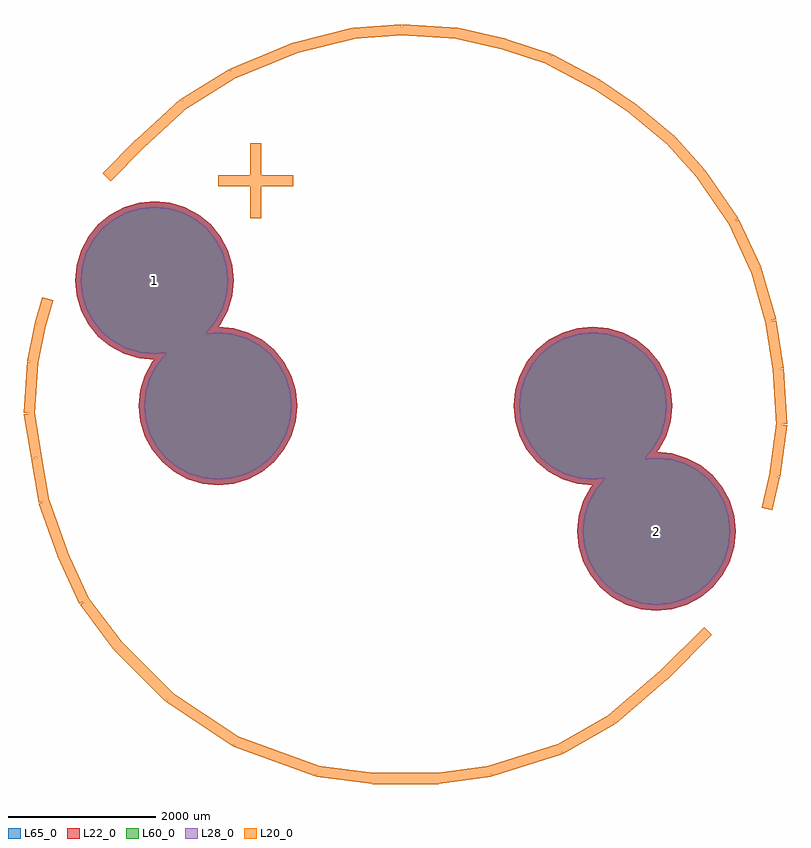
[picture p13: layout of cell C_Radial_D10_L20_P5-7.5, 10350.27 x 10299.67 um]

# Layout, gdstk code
import gdstk
lib = gdstk.Library(unit=1e-6, precision=1e-09)
def P(c, l, *ps):  # polygons
    for p in ps: c.add(gdstk.Polygon(p, *l))
L20_0 = (20, 0)
L22_0 = (22, 0)
L28_0 = (28, 0)
L60_0 = (60, 0)
L65_0 = (65, 0)

c_radial_d10_l20_p5_7_5 = lib.new_cell('C_Radial_D10_L20_P5-7.5')
P(c_radial_d10_l20_p5_7_5, L22_0, [(-1465.51,0),(-1486.156,209.623),(-1547.301,411.19),(-1646.594,596.955),(-1780.221,759.779),(-1943.045,893.406),(-2128.81,992.699),(-2330.377,1053.844),(-2540,1074.49),(-2749.623,1053.844),(-2951.19,992.699),(-3136.955,893.406),(-3299.779,759.779),(-3433.406,596.955),(-3532.699,411.19),(-3593.844,209.623),(-3614.49,0),(-3593.844,-209.623),(-3532.699,-411.19),(-3433.406,-596.955),(-3299.779,-759.779),(-3136.955,-893.406),(-2951.19,-992.699),(-2749.623,-1053.844),(-2540,-1074.49),(-2330.377,-1053.844),(-2128.81,-992.699),(-1943.045,-893.406),(-1780.221,-759.779),(-1646.594,-596.955),(-1547.301,-411.19),(-1486.156,-209.623)],
  [(3614.49,0),(3593.844,209.623),(3532.699,411.19),(3433.406,596.955),(3299.779,759.779),(3136.955,893.406),(2951.19,992.699),(2749.623,1053.844),(2540,1074.49),(2330.377,1053.844),(2128.81,992.699),(1943.045,893.406),(1780.221,759.779),(1646.594,596.955),(1547.301,411.19),(1486.156,209.623),(1465.51,0),(1486.156,-209.623),(1547.301,-411.19),(1646.594,-596.955),(1780.221,-759.779),(1943.045,-893.406),(2128.81,-992.699),(2330.377,-1053.844),(2540,-1074.49),(2749.623,-1053.844),(2951.19,-992.699),(3136.955,-893.406),(3299.779,-759.779),(3433.406,-596.955),(3532.699,-411.19),(3593.844,-209.623)],
  [(-2326.57,1699.26),(-2347.216,1908.883),(-2408.361,2110.45),(-2507.654,2296.215),(-2641.281,2459.039),(-2804.105,2592.666),(-2989.87,2691.959),(-3191.437,2753.104),(-3401.06,2773.75),(-3610.683,2753.104),(-3812.25,2691.959),(-3998.015,2592.666),(-4160.839,2459.039),(-4294.466,2296.215),(-4393.759,2110.45),(-4454.904,1908.883),(-4475.55,1699.26),(-4454.904,1489.637),(-4393.759,1288.07),(-4294.466,1102.305),(-4160.839,939.481),(-3998.015,805.854),(-3812.25,706.561),(-3610.683,645.416),(-3401.06,624.77),(-3191.437,645.416),(-2989.87,706.561),(-2804.105,805.854),(-2641.281,939.481),(-2507.654,1102.305),(-2408.361,1288.07),(-2347.216,1489.637)],
  [(4475.55,-1699.26),(4454.904,-1489.637),(4393.759,-1288.07),(4294.466,-1102.305),(4160.839,-939.481),(3998.015,-805.854),(3812.25,-706.561),(3610.683,-645.416),(3401.06,-624.77),(3191.437,-645.416),(2989.87,-706.561),(2804.105,-805.854),(2641.281,-939.481),(2507.654,-1102.305),(2408.361,-1288.07),(2347.216,-1489.637),(2326.57,-1699.26),(2347.216,-1908.883),(2408.361,-2110.45),(2507.654,-2296.215),(2641.281,-2459.039),(2804.105,-2592.666),(2989.87,-2691.959),(3191.437,-2753.104),(3401.06,-2773.75),(3610.683,-2753.104),(3812.25,-2691.959),(3998.015,-2592.666),(4160.839,-2459.039),(4294.466,-2296.215),(4393.759,-2110.45),(4454.904,-1908.883)])
P(c_radial_d10_l20_p5_7_5, L28_0, [(-1540.51,0),(-1559.715,194.991),(-1616.592,382.488),(-1708.954,555.287),(-1833.254,706.746),(-1984.713,831.046),(-2157.512,923.408),(-2345.009,980.285),(-2540,999.49),(-2734.991,980.285),(-2922.488,923.408),(-3095.287,831.046),(-3246.746,706.746),(-3371.046,555.287),(-3463.408,382.488),(-3520.285,194.991),(-3539.49,0),(-3520.285,-194.991),(-3463.408,-382.488),(-3371.046,-555.287),(-3246.746,-706.746),(-3095.287,-831.046),(-2922.488,-923.408),(-2734.991,-980.285),(-2540,-999.49),(-2345.009,-980.285),(-2157.512,-923.408),(-1984.713,-831.046),(-1833.254,-706.746),(-1708.954,-555.287),(-1616.592,-382.488),(-1559.715,-194.991)],
  [(3539.49,0),(3520.285,194.991),(3463.408,382.488),(3371.046,555.287),(3246.746,706.746),(3095.287,831.046),(2922.488,923.408),(2734.991,980.285),(2540,999.49),(2345.009,980.285),(2157.512,923.408),(1984.713,831.046),(1833.254,706.746),(1708.954,555.287),(1616.592,382.488),(1559.715,194.991),(1540.51,0),(1559.715,-194.991),(1616.592,-382.488),(1708.954,-555.287),(1833.254,-706.746),(1984.713,-831.046),(2157.512,-923.408),(2345.009,-980.285),(2540,-999.49),(2734.991,-980.285),(2922.488,-923.408),(3095.287,-831.046),(3246.746,-706.746),(3371.046,-555.287),(3463.408,-382.488),(3520.285,-194.991)],
  [(-2401.57,1699.26),(-2420.775,1894.251),(-2477.652,2081.748),(-2570.014,2254.547),(-2694.314,2406.006),(-2845.773,2530.306),(-3018.572,2622.668),(-3206.069,2679.545),(-3401.06,2698.75),(-3596.051,2679.545),(-3783.548,2622.668),(-3956.347,2530.306),(-4107.806,2406.006),(-4232.106,2254.547),(-4324.468,2081.748),(-4381.345,1894.251),(-4400.55,1699.26),(-4381.345,1504.269),(-4324.468,1316.772),(-4232.106,1143.973),(-4107.806,992.514),(-3956.347,868.214),(-3783.548,775.852),(-3596.051,718.975),(-3401.06,699.77),(-3206.069,718.975),(-3018.572,775.852),(-2845.773,868.214),(-2694.314,992.514),(-2570.014,1143.973),(-2477.652,1316.772),(-2420.775,1504.269)],
  [(4400.55,-1699.26),(4381.345,-1504.269),(4324.468,-1316.772),(4232.106,-1143.973),(4107.806,-992.514),(3956.347,-868.214),(3783.548,-775.852),(3596.051,-718.975),(3401.06,-699.77),(3206.069,-718.975),(3018.572,-775.852),(2845.773,-868.214),(2694.314,-992.514),(2570.014,-1143.973),(2477.652,-1316.772),(2420.775,-1504.269),(2401.57,-1699.26),(2420.775,-1894.251),(2477.652,-2081.748),(2570.014,-2254.547),(2694.314,-2406.006),(2845.773,-2530.306),(3018.572,-2622.668),(3206.069,-2679.545),(3401.06,-2698.75),(3596.051,-2679.545),(3783.548,-2622.668),(3956.347,-2530.306),(4107.806,-2406.006),(4232.106,-2254.547),(4324.468,-2081.748),(4381.345,-1894.251)])
P(c_radial_d10_l20_p5_7_5, L60_0, [(-1540.51,0),(-1559.715,194.991),(-1616.592,382.488),(-1708.954,555.287),(-1833.254,706.746),(-1984.713,831.046),(-2157.512,923.408),(-2345.009,980.285),(-2540,999.49),(-2734.991,980.285),(-2922.488,923.408),(-3095.287,831.046),(-3246.746,706.746),(-3371.046,555.287),(-3463.408,382.488),(-3520.285,194.991),(-3539.49,0),(-3520.285,-194.991),(-3463.408,-382.488),(-3371.046,-555.287),(-3246.746,-706.746),(-3095.287,-831.046),(-2922.488,-923.408),(-2734.991,-980.285),(-2540,-999.49),(-2345.009,-980.285),(-2157.512,-923.408),(-1984.713,-831.046),(-1833.254,-706.746),(-1708.954,-555.287),(-1616.592,-382.488),(-1559.715,-194.991)],
  [(3539.49,0),(3520.285,194.991),(3463.408,382.488),(3371.046,555.287),(3246.746,706.746),(3095.287,831.046),(2922.488,923.408),(2734.991,980.285),(2540,999.49),(2345.009,980.285),(2157.512,923.408),(1984.713,831.046),(1833.254,706.746),(1708.954,555.287),(1616.592,382.488),(1559.715,194.991),(1540.51,0),(1559.715,-194.991),(1616.592,-382.488),(1708.954,-555.287),(1833.254,-706.746),(1984.713,-831.046),(2157.512,-923.408),(2345.009,-980.285),(2540,-999.49),(2734.991,-980.285),(2922.488,-923.408),(3095.287,-831.046),(3246.746,-706.746),(3371.046,-555.287),(3463.408,-382.488),(3520.285,-194.991)],
  [(-2401.57,1699.26),(-2420.775,1894.251),(-2477.652,2081.748),(-2570.014,2254.547),(-2694.314,2406.006),(-2845.773,2530.306),(-3018.572,2622.668),(-3206.069,2679.545),(-3401.06,2698.75),(-3596.051,2679.545),(-3783.548,2622.668),(-3956.347,2530.306),(-4107.806,2406.006),(-4232.106,2254.547),(-4324.468,2081.748),(-4381.345,1894.251),(-4400.55,1699.26),(-4381.345,1504.269),(-4324.468,1316.772),(-4232.106,1143.973),(-4107.806,992.514),(-3956.347,868.214),(-3783.548,775.852),(-3596.051,718.975),(-3401.06,699.77),(-3206.069,718.975),(-3018.572,775.852),(-2845.773,868.214),(-2694.314,992.514),(-2570.014,1143.973),(-2477.652,1316.772),(-2420.775,1504.269)],
  [(4400.55,-1699.26),(4381.345,-1504.269),(4324.468,-1316.772),(4232.106,-1143.973),(4107.806,-992.514),(3956.347,-868.214),(3783.548,-775.852),(3596.051,-718.975),(3401.06,-699.77),(3206.069,-718.975),(3018.572,-775.852),(2845.773,-868.214),(2694.314,-992.514),(2570.014,-1143.973),(2477.652,-1316.772),(2420.775,-1504.269),(2401.57,-1699.26),(2420.775,-1894.251),(2477.652,-2081.748),(2570.014,-2254.547),(2694.314,-2406.006),(2845.773,-2530.306),(3018.572,-2622.668),(3206.069,-2679.545),(3401.06,-2698.75),(3596.051,-2679.545),(3783.548,-2622.668),(3956.347,-2530.306),(4107.806,-2406.006),(4232.106,-2254.547),(4324.468,-2081.748),(4381.345,-1894.251)])
P(c_radial_d10_l20_p5_7_5, L65_0, [(-1465.51,0),(-1486.156,209.623),(-1547.301,411.19),(-1646.594,596.955),(-1780.221,759.779),(-1943.045,893.406),(-2128.81,992.699),(-2330.377,1053.844),(-2540,1074.49),(-2749.623,1053.844),(-2951.19,992.699),(-3136.955,893.406),(-3299.779,759.779),(-3433.406,596.955),(-3532.699,411.19),(-3593.844,209.623),(-3614.49,0),(-3593.844,-209.623),(-3532.699,-411.19),(-3433.406,-596.955),(-3299.779,-759.779),(-3136.955,-893.406),(-2951.19,-992.699),(-2749.623,-1053.844),(-2540,-1074.49),(-2330.377,-1053.844),(-2128.81,-992.699),(-1943.045,-893.406),(-1780.221,-759.779),(-1646.594,-596.955),(-1547.301,-411.19),(-1486.156,-209.623)],
  [(3614.49,0),(3593.844,209.623),(3532.699,411.19),(3433.406,596.955),(3299.779,759.779),(3136.955,893.406),(2951.19,992.699),(2749.623,1053.844),(2540,1074.49),(2330.377,1053.844),(2128.81,992.699),(1943.045,893.406),(1780.221,759.779),(1646.594,596.955),(1547.301,411.19),(1486.156,209.623),(1465.51,0),(1486.156,-209.623),(1547.301,-411.19),(1646.594,-596.955),(1780.221,-759.779),(1943.045,-893.406),(2128.81,-992.699),(2330.377,-1053.844),(2540,-1074.49),(2749.623,-1053.844),(2951.19,-992.699),(3136.955,-893.406),(3299.779,-759.779),(3433.406,-596.955),(3532.699,-411.19),(3593.844,-209.623)],
  [(-2326.57,1699.26),(-2347.216,1908.883),(-2408.361,2110.45),(-2507.654,2296.215),(-2641.281,2459.039),(-2804.105,2592.666),(-2989.87,2691.959),(-3191.437,2753.104),(-3401.06,2773.75),(-3610.683,2753.104),(-3812.25,2691.959),(-3998.015,2592.666),(-4160.839,2459.039),(-4294.466,2296.215),(-4393.759,2110.45),(-4454.904,1908.883),(-4475.55,1699.26),(-4454.904,1489.637),(-4393.759,1288.07),(-4294.466,1102.305),(-4160.839,939.481),(-3998.015,805.854),(-3812.25,706.561),(-3610.683,645.416),(-3401.06,624.77),(-3191.437,645.416),(-2989.87,706.561),(-2804.105,805.854),(-2641.281,939.481),(-2507.654,1102.305),(-2408.361,1288.07),(-2347.216,1489.637)],
  [(4475.55,-1699.26),(4454.904,-1489.637),(4393.759,-1288.07),(4294.466,-1102.305),(4160.839,-939.481),(3998.015,-805.854),(3812.25,-706.561),(3610.683,-645.416),(3401.06,-624.77),(3191.437,-645.416),(2989.87,-706.561),(2804.105,-805.854),(2641.281,-939.481),(2507.654,-1102.305),(2408.361,-1288.07),(2347.216,-1489.637),(2326.57,-1699.26),(2347.216,-1908.883),(2408.361,-2110.45),(2507.654,-2296.215),(2641.281,-2459.039),(2804.105,-2592.666),(2989.87,-2691.959),(3191.437,-2753.104),(3401.06,-2773.75),(3610.683,-2753.104),(3812.25,-2691.959),(3998.015,-2592.666),(4160.839,-2459.039),(4294.466,-2296.215),(4393.759,-2110.45),(4454.904,-1908.883)])
c_radial_d10_l20_p5_7_5.add(gdstk.FlexPath([(-2540,3048),(-1524,3048)], 149.998, ends="flush", simple_path=True, layer=20, datatype=0))  # L20_0
c_radial_d10_l20_p5_7_5.add(gdstk.FlexPath([(-2032,3556),(-2032,2540)], 149.998, ends="flush", simple_path=True, layer=20, datatype=0))  # L20_0
c_radial_d10_l20_p5_7_5.add(gdstk.FlexPath([(5049.52,500.38),(4950.46,1150.62)], 149.998, ends="flush", simple_path=True, layer=20, datatype=0))  # L20_0
c_radial_d10_l20_p5_7_5.add(gdstk.FlexPath([(5100.32,-248.92),(5049.52,500.38)], 149.998, ends="flush", simple_path=True, layer=20, datatype=0))  # L20_0
c_radial_d10_l20_p5_7_5.add(gdstk.FlexPath([(5001.26,-949.96),(5100.32,-248.92)], 149.998, ends="flush", simple_path=True, layer=20, datatype=0))  # L20_0
c_radial_d10_l20_p5_7_5.add(gdstk.FlexPath([(4899.66,-1399.54),(5001.26,-949.96)], 149.998, ends="flush", simple_path=True, layer=20, datatype=0))  # L20_0
c_radial_d10_l20_p5_7_5.add(gdstk.FlexPath([(-3599.18,3550.92),(-4048.76,3098.8)], 149.998, ends="flush", simple_path=True, layer=20, datatype=0))  # L20_0
c_radial_d10_l20_p5_7_5.add(gdstk.FlexPath([(-2999.74,4099.56),(-3599.18,3550.92)], 149.998, ends="flush", simple_path=True, layer=20, datatype=0))  # L20_0
c_radial_d10_l20_p5_7_5.add(gdstk.FlexPath([(-2349.5,4500.88),(-2999.74,4099.56)], 149.998, ends="flush", simple_path=True, layer=20, datatype=0))  # L20_0
c_radial_d10_l20_p5_7_5.add(gdstk.FlexPath([(-1501.14,4848.86),(-2349.5,4500.88)], 149.998, ends="flush", simple_path=True, layer=20, datatype=0))  # L20_0
c_radial_d10_l20_p5_7_5.add(gdstk.FlexPath([(-701.04,5049.52),(-1501.14,4848.86)], 149.998, ends="flush", simple_path=True, layer=20, datatype=0))  # L20_0
c_radial_d10_l20_p5_7_5.add(gdstk.FlexPath([(-50.8,5100.32),(-701.04,5049.52)], 149.998, ends="flush", simple_path=True, layer=20, datatype=0))  # L20_0
c_radial_d10_l20_p5_7_5.add(gdstk.FlexPath([(701.04,5049.52),(-50.8,5100.32)], 149.998, ends="flush", simple_path=True, layer=20, datatype=0))  # L20_0
c_radial_d10_l20_p5_7_5.add(gdstk.FlexPath([(1348.74,4899.66),(701.04,5049.52)], 149.998, ends="flush", simple_path=True, layer=20, datatype=0))  # L20_0
c_radial_d10_l20_p5_7_5.add(gdstk.FlexPath([(1950.72,4699),(1348.74,4899.66)], 149.998, ends="flush", simple_path=True, layer=20, datatype=0))  # L20_0
c_radial_d10_l20_p5_7_5.add(gdstk.FlexPath([(2600.96,4351.02),(1950.72,4699)], 149.998, ends="flush", simple_path=True, layer=20, datatype=0))  # L20_0
c_radial_d10_l20_p5_7_5.add(gdstk.FlexPath([(3050.54,4048.76),(2600.96,4351.02)], 149.998, ends="flush", simple_path=True, layer=20, datatype=0))  # L20_0
c_radial_d10_l20_p5_7_5.add(gdstk.FlexPath([(3599.18,3599.18),(3050.54,4048.76)], 149.998, ends="flush", simple_path=True, layer=20, datatype=0))  # L20_0
c_radial_d10_l20_p5_7_5.add(gdstk.FlexPath([(4000.5,3149.6),(3599.18,3599.18)], 149.998, ends="flush", simple_path=True, layer=20, datatype=0))  # L20_0
c_radial_d10_l20_p5_7_5.add(gdstk.FlexPath([(4450.08,2499.36),(4000.5,3149.6)], 149.998, ends="flush", simple_path=True, layer=20, datatype=0))  # L20_0
c_radial_d10_l20_p5_7_5.add(gdstk.FlexPath([(4749.8,1849.12),(4450.08,2499.36)], 149.998, ends="flush", simple_path=True, layer=20, datatype=0))  # L20_0
c_radial_d10_l20_p5_7_5.add(gdstk.FlexPath([(4950.46,1150.62),(4749.8,1849.12)], 149.998, ends="flush", simple_path=True, layer=20, datatype=0))  # L20_0
c_radial_d10_l20_p5_7_5.add(gdstk.FlexPath([(3500.12,-3649.98),(4099.56,-3050.54)], 149.998, ends="flush", simple_path=True, layer=20, datatype=0))  # L20_0
c_radial_d10_l20_p5_7_5.add(gdstk.FlexPath([(2799.08,-4249.42),(3500.12,-3649.98)], 149.998, ends="flush", simple_path=True, layer=20, datatype=0))  # L20_0
c_radial_d10_l20_p5_7_5.add(gdstk.FlexPath([(2100.58,-4650.74),(2799.08,-4249.42)], 149.998, ends="flush", simple_path=True, layer=20, datatype=0))  # L20_0
c_radial_d10_l20_p5_7_5.add(gdstk.FlexPath([(1150.62,-4950.46),(2100.58,-4650.74)], 149.998, ends="flush", simple_path=True, layer=20, datatype=0))  # L20_0
c_radial_d10_l20_p5_7_5.add(gdstk.FlexPath([(449.58,-5049.52),(1150.62,-4950.46)], 149.998, ends="flush", simple_path=True, layer=20, datatype=0))  # L20_0
c_radial_d10_l20_p5_7_5.add(gdstk.FlexPath([(-449.58,-5049.52),(449.58,-5049.52)], 149.998, ends="flush", simple_path=True, layer=20, datatype=0))  # L20_0
c_radial_d10_l20_p5_7_5.add(gdstk.FlexPath([(-1198.88,-4950.46),(-449.58,-5049.52)], 149.998, ends="flush", simple_path=True, layer=20, datatype=0))  # L20_0
c_radial_d10_l20_p5_7_5.add(gdstk.FlexPath([(-2301.24,-4549.14),(-1198.88,-4950.46)], 149.998, ends="flush", simple_path=True, layer=20, datatype=0))  # L20_0
c_radial_d10_l20_p5_7_5.add(gdstk.FlexPath([(-3200.4,-3949.7),(-2301.24,-4549.14)], 149.998, ends="flush", simple_path=True, layer=20, datatype=0))  # L20_0
c_radial_d10_l20_p5_7_5.add(gdstk.FlexPath([(-3898.9,-3251.2),(-3200.4,-3949.7)], 149.998, ends="flush", simple_path=True, layer=20, datatype=0))  # L20_0
c_radial_d10_l20_p5_7_5.add(gdstk.FlexPath([(-4351.02,-2649.22),(-3898.9,-3251.2)], 149.998, ends="flush", simple_path=True, layer=20, datatype=0))  # L20_0
c_radial_d10_l20_p5_7_5.add(gdstk.FlexPath([(-4650.74,-1998.98),(-4351.02,-2649.22)], 149.998, ends="flush", simple_path=True, layer=20, datatype=0))  # L20_0
c_radial_d10_l20_p5_7_5.add(gdstk.FlexPath([(-4899.66,-1300.48),(-4650.74,-1998.98)], 149.998, ends="flush", simple_path=True, layer=20, datatype=0))  # L20_0
c_radial_d10_l20_p5_7_5.add(gdstk.FlexPath([(-5001.26,-701.04),(-4899.66,-1300.48)], 149.998, ends="flush", simple_path=True, layer=20, datatype=0))  # L20_0
c_radial_d10_l20_p5_7_5.add(gdstk.FlexPath([(-5100.32,-99.06),(-5001.26,-701.04)], 149.998, ends="flush", simple_path=True, layer=20, datatype=0))  # L20_0
c_radial_d10_l20_p5_7_5.add(gdstk.FlexPath([(-5049.52,599.44),(-5100.32,-99.06)], 149.998, ends="flush", simple_path=True, layer=20, datatype=0))  # L20_0
c_radial_d10_l20_p5_7_5.add(gdstk.FlexPath([(-4950.46,1099.82),(-5049.52,599.44)], 149.998, ends="flush", simple_path=True, layer=20, datatype=0))  # L20_0
c_radial_d10_l20_p5_7_5.add(gdstk.FlexPath([(-4848.86,1450.34),(-4950.46,1099.82)], 149.998, ends="flush", simple_path=True, layer=20, datatype=0))  # L20_0
c_radial_d10_l20_p5_7_5.add(gdstk.Label('1', (-3401.06,1699.26), layer=28, texttype=0))
c_radial_d10_l20_p5_7_5.add(gdstk.Label('2', (3401.06,-1699.26), layer=28, texttype=0))
c_radial_d10_l20_p5_7_5.add(gdstk.Label('type', (0,-6350), layer=9, texttype=0))
c_radial_d10_l20_p5_7_5.add(gdstk.Label('devicename', (0,6350), layer=9, texttype=0))

lib.write_gds('C_Radial_D10_L20_P5-7.5.gds')
